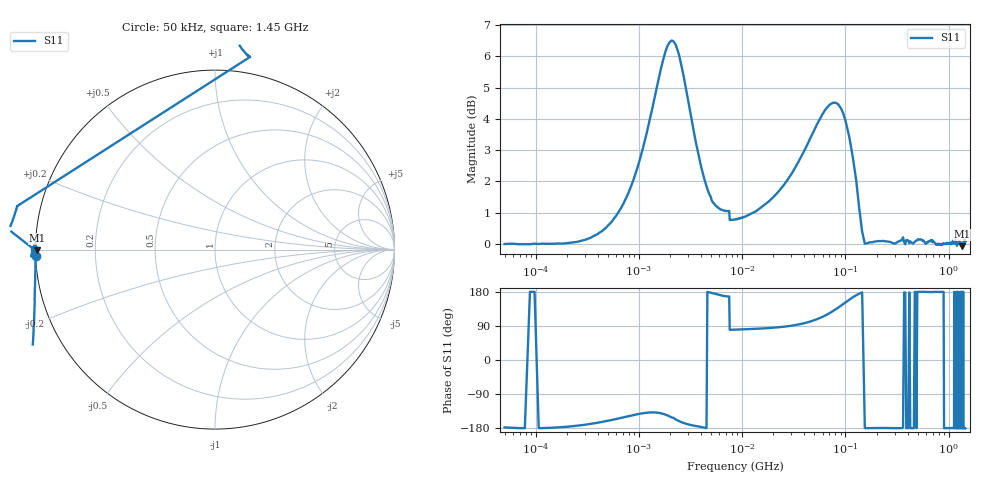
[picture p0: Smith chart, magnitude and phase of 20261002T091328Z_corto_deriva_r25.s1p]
! piloto_deriva / corto_deriva / r25
# HZ S RI R 50
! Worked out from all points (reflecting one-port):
!   501 points, 50 kHz to 1.45 GHz, reference 50 ohm
!   lowest |S11| = -0.1 dB at 1.351 GHz (marker M1), VSWR 230.08, Z = 0.217 - j0.119 ohm
!   phase of S11 starts at -178 deg and turns -2 deg over the sweep
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50000  -0.9985 -0.038
183000  -0.9994 -0.0525
363500  -1.004 -0.225
658000  -1.014 -0.5099
1180000  -1.135 -0.9753
1630000  -1.471 -1.21
1990000  -1.806 -1.081
2170000  -1.875 -0.9624
2440000  -1.902 -0.6454
3070000  -1.633 -0.2696
4330000  -1.264 -0.0296
7300000  -1.102 0.2418
7750000  0.1942 1.074
8560000  0.1877 1.078
1.9e7  0.1101 1.173
3.16e7  -0.0352 1.312
4.78e7  -0.3434 1.458
6.76e7  -0.8605 1.418
7.93e7  -1.139 1.237
9.37e7  -1.355 0.8998
9.82e7  -1.384 0.7828
1e8  -1.392 0.7378
1.18e8  -1.331 0.3394
1.36e8  -1.135 0.1002
1.63e8  -1.002 -0.00448
4.06e8  -1.012 -0.00214
1.351e9  -0.9913 -0.0047
1.45e9  -1.009 -0.00276
